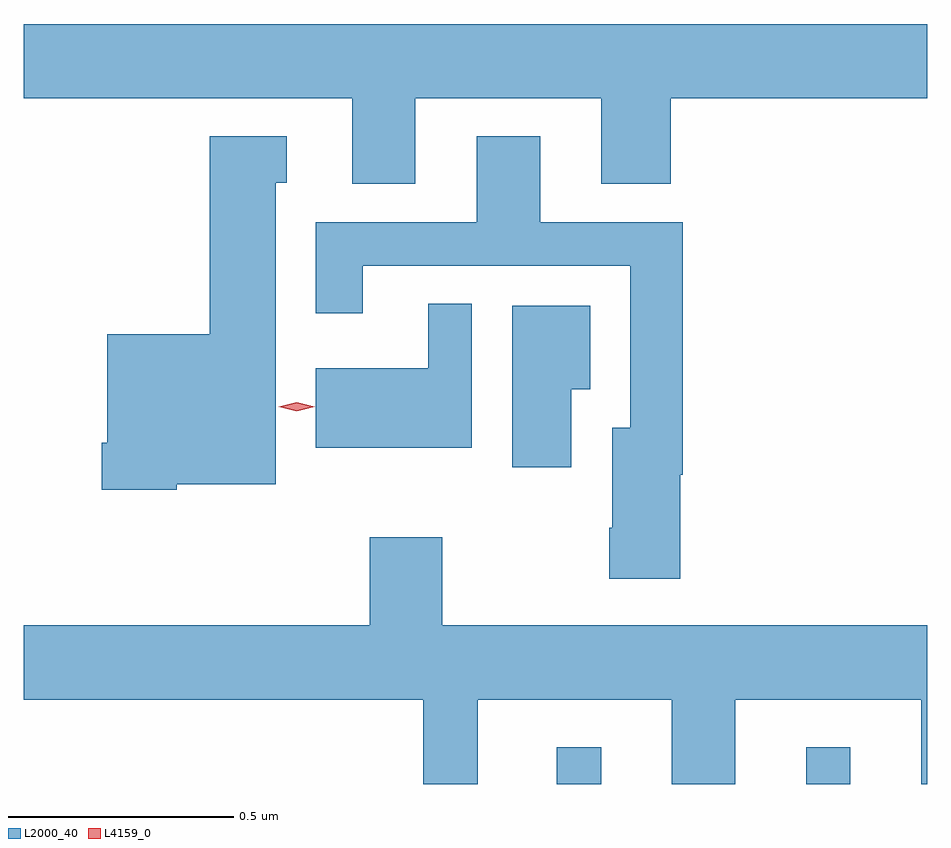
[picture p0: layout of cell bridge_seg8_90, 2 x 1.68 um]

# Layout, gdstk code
import gdstk
lib = gdstk.Library(unit=1e-6, precision=1e-09)
def R(c, l, rs):  # rectangles x0, y0, x1, y1
    for r in rs: c.add(gdstk.rectangle(r[:2], r[2:], *l))
def P(c, l, *ps):  # polygons
    for p in ps: c.add(gdstk.Polygon(p, *l))
L2000_40 = (2000, 40)
L4159_0 = (4159, 0)

bridge_seg8_90 = lib.new_cell('bridge_seg8_90')
R(bridge_seg8_90, L2000_40, [(868.304,1118.977,868.402,1119.058), (868.856,1118.977,868.954,1119.058)])
P(bridge_seg8_90, L2000_40, [(867.991,1120.496),(868.403,1120.496),(868.403,1120.306),(868.556,1120.306),(868.556,1120.496),(869.124,1120.496),(869.124,1120.66),(867.124,1120.66),(867.124,1120.496),(867.851,1120.496),(867.851,1120.306),(867.991,1120.306)],
  [(867.462,1119.641),(867.682,1119.641),(867.682,1120.308),(867.706,1120.308),(867.706,1120.411),(867.536,1120.411),(867.536,1119.973),(867.308,1119.973),(867.308,1119.733),(867.296,1119.733),(867.296,1119.629),(867.462,1119.629)],
  [(868.577,1119.662),(868.583,1119.662),(868.583,1120.221),(868.267,1120.221),(868.267,1120.411),(868.127,1120.411),(868.127,1120.221),(867.77,1120.221),(867.77,1120.02),(867.874,1120.02),(867.874,1120.125),(868.467,1120.125),(868.467,1119.766),(868.427,1119.766),(868.427,1119.544),(868.42,1119.544),(868.42,1119.432),(868.577,1119.432)],
  [(868.116,1120.04),(868.019,1120.04),(868.019,1119.898),(867.77,1119.898),(867.77,1119.722),(868.116,1119.722)],
  [(868.336,1119.851),(868.378,1119.851),(868.378,1120.036),(868.205,1120.036),(868.205,1119.678),(868.336,1119.678)],
  [(868.129,1119.164),(868.559,1119.164),(868.559,1118.977),(868.699,1118.977),(868.699,1119.164),(869.111,1119.164),(869.111,1118.977),(869.124,1118.977),(869.124,1119.328),(868.05,1119.328),(868.05,1119.523),(867.89,1119.523),(867.89,1119.328),(867.124,1119.328),(867.124,1119.164),(868.008,1119.164),(868.008,1118.977),(868.129,1118.977)])
P(bridge_seg8_90, L4159_0, [(867.728,1119.802),(867.688,1119.812),(867.688,1119.812),(867.688,1119.812),(867.728,1119.822),(867.768,1119.812),(867.768,1119.812),(867.768,1119.812)])

lib.write_gds('bridge_seg8_90.gds')
